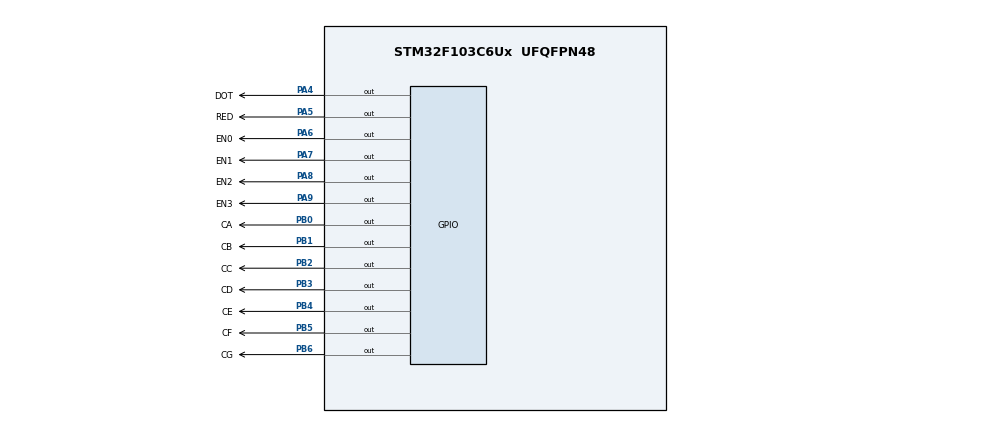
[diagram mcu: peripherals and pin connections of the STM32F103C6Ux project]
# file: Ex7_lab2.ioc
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Mcu.Family=STM32F1
Mcu.Name=STM32F103C6Ux
Mcu.Package=UFQFPN48
NVIC.PriorityGroup=NVIC_PRIORITYGROUP_4
NVIC.TIM2_IRQn=true\:0\:0\:false\:false\:true\:true\:true
PA4.GPIO_Label=DOT
PA4.Signal=GPIO_Output
PA5.GPIO_Label=RED
PA5.Signal=GPIO_Output
PA6.GPIO_Label=EN0
PA6.Signal=GPIO_Output
PA7.GPIO_Label=EN1
PA7.Signal=GPIO_Output
PA8.GPIO_Label=EN2
PA8.Signal=GPIO_Output
PA9.GPIO_Label=EN3
PA9.Signal=GPIO_Output
PB0.GPIO_Label=CA
PB0.Signal=GPIO_Output
PB1.GPIO_Label=CB
PB1.Signal=GPIO_Output
PB2.GPIO_Label=CC
PB2.Signal=GPIO_Output
PB3.GPIO_Label=CD
PB3.Signal=GPIO_Output
PB4.GPIO_Label=CE
PB4.Signal=GPIO_Output
PB5.GPIO_Label=CF
PB5.Signal=GPIO_Output
PB6.GPIO_Label=CG
PB6.Signal=GPIO_Output
ProjectManager.HeapSize=0x200
ProjectManager.StackSize=0x400
ProjectManager.TargetToolchain=STM32CubeIDE
RCC.APB1Freq_Value=8000000
RCC.APB2Freq_Value=8000000
TIM2.Period=9
TIM2.Prescaler=7999
VP_SYS_VS_ND.Mode=No_Debug
VP_TIM2_VS_ClockSourceINT.Mode=Internal
board=custom

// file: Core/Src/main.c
/* USER CODE BEGIN Header */
/**
  ******************************************************************************
  * @file           : main.c
  * @brief          : Main program body
  ******************************************************************************
  * @attention
  *
  * <h2><center>&copy; Copyright (c) 2022 STMicroelectronics.
  * All rights reserved.</center></h2>
  *
  * This software component is licensed by ST under BSD 3-Clause license,
  * the "License"; You may not use this file except in compliance with the
  * License. You may obtain a copy of the License at:
  *                        opensource.org/licenses/BSD-3-Clause
  *
  ******************************************************************************
  */
/* USER CODE END Header */
#include "main.h"

/* USER CODE BEGIN Includes */
#include "software_timer.h"
/* USER CODE END Includes */

TIM_HandleTypeDef htim2;

void SystemClock_Config(void);
static void MX_GPIO_Init(void);
static void MX_TIM2_Init(void);

int main(void)
{

  /* MCU Configuration--------------------------------------------------------*/

  /* Reset of all peripherals, Initializes the Flash interface and the Systick. */
  HAL_Init();

  /* USER CODE BEGIN Init */
  void display7SEG(int num);
  void updateClockBuffer(int gio,int phut);
  void update7SEG(int index);
  /* USER CODE END Init */

  /* Configure the system clock */
  SystemClock_Config();

  /* Initialize all configured peripherals */
  MX_GPIO_Init();
  MX_TIM2_Init();
  /* USER CODE BEGIN 2 */
  HAL_TIM_Base_Start_IT(&htim2);
  /* USER CODE END 2 */

  /* Infinite loop */
  /* USER CODE BEGIN WHILE */
  setTimer1(100);
  setTimer2(50);
  int hour = 15 , minute = 8 , second = 50;
  int index_led = 0;
  while (1)
  {
	  if(timer1_flag==1){
		  setTimer1(100);
		  HAL_GPIO_TogglePin(RED_GPIO_Port ,RED_Pin );
		  HAL_GPIO_TogglePin(DOT_GPIO_Port, DOT_Pin);
		  second ++;
		  if ( second >= 60) {
			  second = 0;
			  minute ++;
		  }
		  if ( minute >= 60) {
			  minute = 0;
			  hour ++;
		  }
		  if ( hour >=24) {
			  hour = 0;
		  }

	  }
	  if(timer2_flag==1){
		  setTimer2(50);
		  if(index_led>3){
		  		  index_led=0;
		  	  }
		  updateClockBuffer (hour,minute) ;
		  update7SEG(index_led++);
	  }
    /* USER CODE END WHILE */

  }
}

void SystemClock_Config(void)
{
  RCC_OscInitTypeDef RCC_OscInitStruct = {0};
  RCC_ClkInitTypeDef RCC_ClkInitStruct = {0};

  /** Initializes the RCC Oscillators according to the specified parameters
  * in the RCC_OscInitTypeDef structure.
  */
  RCC_OscInitStruct.OscillatorType = RCC_OSCILLATORTYPE_HSI;
  RCC_OscInitStruct.HSIState = RCC_HSI_ON;
  RCC_OscInitStruct.HSICalibrationValue = RCC_HSICALIBRATION_DEFAULT;
  RCC_OscInitStruct.PLL.PLLState = RCC_PLL_NONE;
  if (HAL_RCC_OscConfig(&RCC_OscInitStruct) != HAL_OK)
  {
    Error_Handler();
  }
  /** Initializes the CPU, AHB and APB buses clocks
  */
  RCC_ClkInitStruct.ClockType = RCC_CLOCKTYPE_HCLK|RCC_CLOCKTYPE_SYSCLK
                              |RCC_CLOCKTYPE_PCLK1|RCC_CLOCKTYPE_PCLK2;
  RCC_ClkInitStruct.SYSCLKSource = RCC_SYSCLKSOURCE_HSI;
  RCC_ClkInitStruct.AHBCLKDivider = RCC_SYSCLK_DIV1;
  RCC_ClkInitStruct.APB1CLKDivider = RCC_HCLK_DIV1;
  RCC_ClkInitStruct.APB2CLKDivider = RCC_HCLK_DIV1;

  if (HAL_RCC_ClockConfig(&RCC_ClkInitStruct, FLASH_LATENCY_0) != HAL_OK)
  {
    Error_Handler();
  }
}

static void MX_TIM2_Init(void)
{

  TIM_ClockConfigTypeDef sClockSourceConfig = {0};
  TIM_MasterConfigTypeDef sMasterConfig = {0};

  htim2.Instance = TIM2;
  htim2.Init.Prescaler = 7999;
  htim2.Init.CounterMode = TIM_COUNTERMODE_UP;
  htim2.Init.Period = 9;
  htim2.Init.ClockDivision = TIM_CLOCKDIVISION_DIV1;
  htim2.Init.AutoReloadPreload = TIM_AUTORELOAD_PRELOAD_DISABLE;
  if (HAL_TIM_Base_Init(&htim2) != HAL_OK)
  {
    Error_Handler();
  }
  sClockSourceConfig.ClockSource = TIM_CLOCKSOURCE_INTERNAL;
  if (HAL_TIM_ConfigClockSource(&htim2, &sClockSourceConfig) != HAL_OK)
  {
    Error_Handler();
  }
  sMasterConfig.MasterOutputTrigger = TIM_TRGO_RESET;
  sMasterConfig.MasterSlaveMode = TIM_MASTERSLAVEMODE_DISABLE;
  if (HAL_TIMEx_MasterConfigSynchronization(&htim2, &sMasterConfig) != HAL_OK)
  {
    Error_Handler();
  }

}

static void MX_GPIO_Init(void)
{
  GPIO_InitTypeDef GPIO_InitStruct = {0};

  /* GPIO Ports Clock Enable */
  __HAL_RCC_GPIOA_CLK_ENABLE();
  __HAL_RCC_GPIOB_CLK_ENABLE();

  /*Configure GPIO pin Output Level */
  HAL_GPIO_WritePin(GPIOA, DOT_Pin|RED_Pin|EN0_Pin|EN1_Pin
                          |EN2_Pin|EN3_Pin, GPIO_PIN_RESET);

  /*Configure GPIO pin Output Level */
  HAL_GPIO_WritePin(GPIOB, CA_Pin|CB_Pin|CC_Pin|CD_Pin
                          |CE_Pin|CF_Pin|CG_Pin, GPIO_PIN_RESET);

  /*Configure GPIO pins : DOT_Pin RED_Pin EN0_Pin EN1_Pin
                           EN2_Pin EN3_Pin */
  GPIO_InitStruct.Pin = DOT_Pin|RED_Pin|EN0_Pin|EN1_Pin
                          |EN2_Pin|EN3_Pin;
  GPIO_InitStruct.Mode = GPIO_MODE_OUTPUT_PP;
  GPIO_InitStruct.Pull = GPIO_NOPULL;
  GPIO_InitStruct.Speed = GPIO_SPEED_FREQ_LOW;
  HAL_GPIO_Init(GPIOA, &GPIO_InitStruct);

  /*Configure GPIO pins : CA_Pin CB_Pin CC_Pin CD_Pin
                           CE_Pin CF_Pin CG_Pin */
  GPIO_InitStruct.Pin = CA_Pin|CB_Pin|CC_Pin|CD_Pin
                          |CE_Pin|CF_Pin|CG_Pin;
  GPIO_InitStruct.Mode = GPIO_MODE_OUTPUT_PP;
  GPIO_InitStruct.Pull = GPIO_NOPULL;
  GPIO_InitStruct.Speed = GPIO_SPEED_FREQ_LOW;
  HAL_GPIO_Init(GPIOB, &GPIO_InitStruct);

}

/* USER CODE BEGIN 4 */
void display7SEG(int num){
	HAL_GPIO_WritePin(CA_GPIO_Port, CA_Pin, 1);
	HAL_GPIO_WritePin(CB_GPIO_Port, CB_Pin, 1);
	HAL_GPIO_WritePin(CC_GPIO_Port, CC_Pin, 1);
	HAL_GPIO_WritePin(CD_GPIO_Port, CD_Pin, 1);
	HAL_GPIO_WritePin(CE_GPIO_Port, CE_Pin, 1);
	HAL_GPIO_WritePin(CF_GPIO_Port, CF_Pin, 1);
	HAL_GPIO_WritePin(CG_GPIO_Port, CG_Pin, 1);
	switch(num){
	case 0:{
		HAL_GPIO_WritePin(CA_GPIO_Port, CA_Pin, 0);
		HAL_GPIO_WritePin(CB_GPIO_Port, CB_Pin, 0);
		HAL_GPIO_WritePin(CC_GPIO_Port, CC_Pin, 0);
		HAL_GPIO_WritePin(CD_GPIO_Port, CD_Pin, 0);
		HAL_GPIO_WritePin(CE_GPIO_Port, CE_Pin, 0);
		HAL_GPIO_WritePin(CF_GPIO_Port, CF_Pin, 0);
		break;
	}
	case 1:{
		HAL_GPIO_WritePin(CB_GPIO_Port, CB_Pin, 0);
		HAL_GPIO_WritePin(CC_GPIO_Port, CC_Pin, 0);
		break;
	}
	case 2:{
		HAL_GPIO_WritePin(CA_GPIO_Port, CA_Pin, 0);
		HAL_GPIO_WritePin(CB_GPIO_Port, CB_Pin, 0);
		HAL_GPIO_WritePin(CG_GPIO_Port, CG_Pin, 0);
		HAL_GPIO_WritePin(CD_GPIO_Port, CD_Pin, 0);
		HAL_GPIO_WritePin(CE_GPIO_Port, CE_Pin, 0);
		break;
	}
	case 3:{
		HAL_GPIO_WritePin(CA_GPIO_Port, CA_Pin, 0);
		HAL_GPIO_WritePin(CB_GPIO_Port, CB_Pin, 0);
		HAL_GPIO_WritePin(CC_GPIO_Port, CC_Pin, 0);
		HAL_GPIO_WritePin(CD_GPIO_Port, CD_Pin, 0);
		HAL_GPIO_WritePin(CG_GPIO_Port, CG_Pin, 0);
		break;
	}
	case 4:{
		HAL_GPIO_WritePin(CB_GPIO_Port, CB_Pin, 0);
		HAL_GPIO_WritePin(CC_GPIO_Port, CC_Pin, 0);
		HAL_GPIO_WritePin(CG_GPIO_Port, CG_Pin, 0);
		HAL_GPIO_WritePin(CF_GPIO_Port, CF_Pin, 0);
		break;
	}
	case 5:{
		HAL_GPIO_WritePin(CA_GPIO_Port, CA_Pin, 0);
		HAL_GPIO_WritePin(CC_GPIO_Port, CC_Pin, 0);
		HAL_GPIO_WritePin(CD_GPIO_Port, CD_Pin, 0);
		HAL_GPIO_WritePin(CG_GPIO_Port, CG_Pin, 0);
		HAL_GPIO_WritePin(CF_GPIO_Port, CF_Pin, 0);
		break;
	}
	case 6:{
		HAL_GPIO_WritePin(CA_GPIO_Port, CA_Pin, 0);
		HAL_GPIO_WritePin(CG_GPIO_Port, CG_Pin, 0);
		HAL_GPIO_WritePin(CC_GPIO_Port, CC_Pin, 0);
		HAL_GPIO_WritePin(CD_GPIO_Port, CD_Pin, 0);
		HAL_GPIO_WritePin(CE_GPIO_Port, CE_Pin, 0);
		HAL_GPIO_WritePin(CF_GPIO_Port, CF_Pin, 0);
		break;
	}
	case 7:{
		HAL_GPIO_WritePin(CA_GPIO_Port, CA_Pin, 0);
		HAL_GPIO_WritePin(CB_GPIO_Port, CB_Pin, 0);
		HAL_GPIO_WritePin(CC_GPIO_Port, CC_Pin, 0);
		break;
	}
	case 8:{
		HAL_GPIO_WritePin(CA_GPIO_Port, CA_Pin, 0);
		HAL_GPIO_WritePin(CB_GPIO_Port, CB_Pin, 0);
		HAL_GPIO_WritePin(CC_GPIO_Port, CC_Pin, 0);
		HAL_GPIO_WritePin(CD_GPIO_Port, CD_Pin, 0);
		HAL_GPIO_WritePin(CE_GPIO_Port, CE_Pin, 0);
		HAL_GPIO_WritePin(CF_GPIO_Port, CF_Pin, 0);
		HAL_GPIO_WritePin(CG_GPIO_Port, CG_Pin, 0);
		break;
	}
	case 9:{
		HAL_GPIO_WritePin(CA_GPIO_Port, CA_Pin, 0);
		HAL_GPIO_WritePin(CB_GPIO_Port, CB_Pin, 0);
		HAL_GPIO_WritePin(CC_GPIO_Port, CC_Pin, 0);
		HAL_GPIO_WritePin(CD_GPIO_Port, CD_Pin, 0);
		HAL_GPIO_WritePin(CF_GPIO_Port, CF_Pin, 0);
		HAL_GPIO_WritePin(CG_GPIO_Port, CG_Pin, 0);
		break;
	}
	default: break;
	}
}
int led_buffer [4];
void updateClockBuffer(int gio, int phut){
	led_buffer[0] =gio / 10;
	led_buffer[1] = gio % 10;
	led_buffer[2] = phut / 10;
	led_buffer[3] = phut % 10;
}
const int MAX_LED = 4;
int index_led = 0;
void update7SEG ( int index ) {
	switch ( index ) {
		case 0:{
			HAL_GPIO_WritePin(EN0_GPIO_Port, EN0_Pin, 0);
			HAL_GPIO_WritePin(EN1_GPIO_Port, EN1_Pin, 1);
			HAL_GPIO_WritePin(EN2_GPIO_Port, EN2_Pin, 1);
			HAL_GPIO_WritePin(EN3_GPIO_Port, EN3_Pin, 1);
			display7SEG(led_buffer[0]);
			break;
		}
		case 1:{
			HAL_GPIO_WritePin(EN0_GPIO_Port, EN0_Pin, 1);
			HAL_GPIO_WritePin(EN1_GPIO_Port, EN1_Pin, 0);
			HAL_GPIO_WritePin(EN2_GPIO_Port, EN2_Pin, 1);
			HAL_GPIO_WritePin(EN3_GPIO_Port, EN3_Pin, 1);
			display7SEG(led_buffer[1]);
			break;
		}
		case 2:{
			HAL_GPIO_WritePin(EN0_GPIO_Port, EN0_Pin, 1);
			HAL_GPIO_WritePin(EN1_GPIO_Port, EN1_Pin, 1);
			HAL_GPIO_WritePin(EN2_GPIO_Port, EN2_Pin, 0);
			HAL_GPIO_WritePin(EN3_GPIO_Port, EN3_Pin, 1);
			display7SEG(led_buffer[2]);
			break;
		}
		case 3:{
			HAL_GPIO_WritePin(EN0_GPIO_Port, EN0_Pin, 1);
			HAL_GPIO_WritePin(EN1_GPIO_Port, EN1_Pin, 1);
			HAL_GPIO_WritePin(EN2_GPIO_Port, EN2_Pin, 1);
			HAL_GPIO_WritePin(EN3_GPIO_Port, EN3_Pin, 0);
			display7SEG(led_buffer[3]);
			break;
		}
		default :
			break ;
	}
 }
void HAL_TIM_PeriodElapsedCallback(TIM_HandleTypeDef *htim){

	timerRun();
}
/* USER CODE END 4 */

void Error_Handler(void)
{
  __disable_irq();
  while (1)
  {
  }
}

/************************ (C) COPYRIGHT STMicroelectronics *****END OF FILE****/
